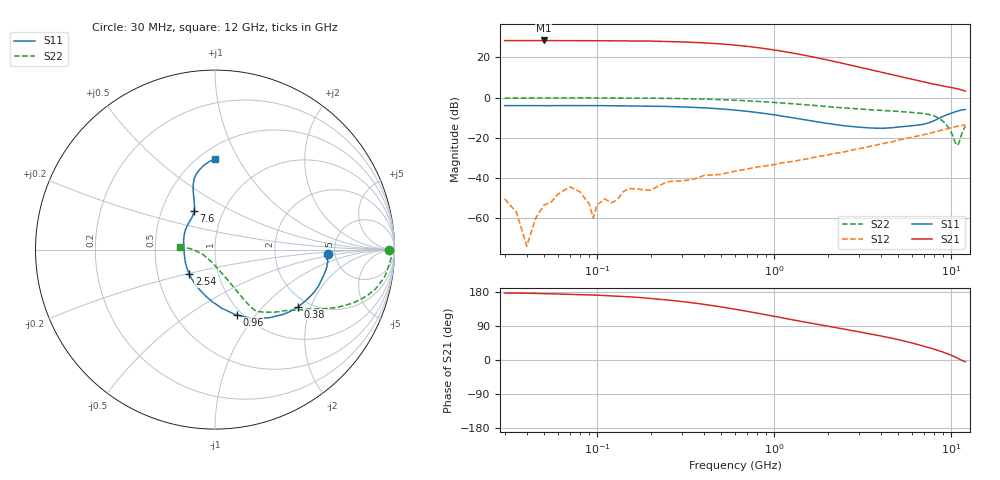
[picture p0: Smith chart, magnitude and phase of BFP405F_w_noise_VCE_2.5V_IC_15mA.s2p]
! Infineon Technologies  Discrete & RF Semiconductors
! BFP405F
! VCE =  2.5 V,  IC =  15 mA
! Common Emitter S-Parameters:  Nov 2015
# GHz  S  MA  R  50
!  f  S11  S21  S12  S22
! GHz  MAG  ANG  MAG  ANG  MAG  ANG  MAG  ANG
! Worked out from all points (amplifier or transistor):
!   239 points, 30 MHz to 12 GHz, reference 50 ohm
!   highest |S21| = 28.4 dB at 50 MHz (marker M1)
!   |S21| within 3 dB of that: start of sweep to 715.7 MHz
!   unconditionally stable (mu >= 1): 38.86 MHz to 46.31 MHz; 1.896 GHz to end of sweep
!   at 300 MHz: K = 0.26, MSG = 34.6 dB, |S12| = -41.5 dB
!   at 1.88 GHz: K = 0.99, MSG = 24.1 dB, |S12| = -29.0 dB
!   at 12 GHz: K = 1.38, MAG = 4.7 dB, |S12| = -13.6 dB
!   lowest NFmin = 1.97 dB at 450 MHz
!   S11 on the Smith chart (normalised r, x): 30 MHz: 4.39, -0.35; 380 MHz: 1.76, -1.63; 960 MHz: 0.94, -0.80; 2.54 GHz: 0.72, -0.20; 7.6 GHz: 0.73, +0.33; 12 GHz: 0.60, +0.80
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0.03  0.6307 -2.2  26.18 176.7  0.003 128.0  0.97 -0.2
0.035  0.6298 -2.9  26.2 176.4  0.0014 130.4  0.9727 -0.6
0.04  0.629 -3.7  26.21 176.2  0.0002 -89.0  0.9754 -0.9
0.05  0.6246 -4.9  26.39 174.9  0.0021 24.7  0.9768 -1.7
0.07  0.632 -6.9  26.14 173.0  0.006 109.5  0.9801 -2.2
0.085  0.6307 -8.1  26.03 172.1  0.0031 132.3  0.982 -2.8
0.095  0.6305 -8.9  26 171.5  0.001 108.1  0.9803 -3.3
0.145  0.6207 -13.9  25.81 167.5  0.0049 95.3  0.9734 -5.2
0.24  0.6023 -22.7  24.96 159.2  0.0075 79.0  0.9584 -8.8
0.3  0.5852 -27.9  24.35 154.3  0.0084 78.9  0.943 -10.8
0.38  0.5615 -34.5  23.28 148.3  0.0106 77.7  0.9251 -13.2
0.45  0.539 -40.2  22.35 143.4  0.0119 74.8  0.9031 -15.2
0.6  0.488 -50.9  20.21 133.9  0.0147 73.5  0.8596 -18.8
0.7  0.4561 -57.1  18.9 128.5  0.0166 71.0  0.8322 -20.6
0.96  0.3817 -71.7  15.72 116.8  0.021 69.6  0.7659 -24.5
1.3  0.3069 -88.2  12.59 105.1  0.0261 69.5  0.6956 -28.2
1.64  0.2599 -102.7  10.34 96.6  0.0318 69.3  0.6429 -31.0
2.54  0.1972 -136.8  6.811 80.5  0.0454 67.3  0.5478 -38.1
4.5  0.1767 171.6  3.795 58.6  0.0786 61.6  0.4666 -48.4
7.6  0.2432 118.7  2.25 31.7  0.1312 49.2  0.3732 -58.1
10.8  0.4578 100.1  1.656 5.1  0.1937 30.6  0.0646 -134.6
12  0.5032 90.1  1.447 -4.8  0.2082 23.8  0.1961 175.8
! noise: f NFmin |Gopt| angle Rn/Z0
0.45  1.97  0.11  2  0.35
0.9  1.99  0.1  4  0.33
1.5  2.03  0.08  8  0.23
1.9  2.09  0.06  10  0.28
2.4  2.24  0.04  13  0.42
3  2.32  0.03  6  0.36
3.5  2.38  0.01  -46  0.48
4.5  2.58  0.08  -93  0.25
5.5  2.83  0.16  -88  0.1
